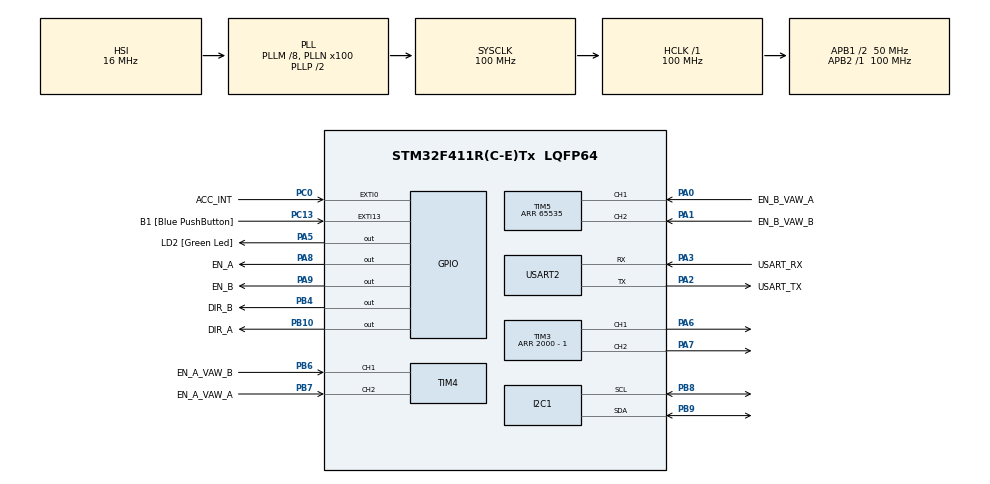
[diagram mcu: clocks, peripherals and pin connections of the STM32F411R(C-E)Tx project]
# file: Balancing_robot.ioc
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Mcu.Family=STM32F4
Mcu.Name=STM32F411R(C-E)Tx
Mcu.Package=LQFP64
NVIC.PriorityGroup=NVIC_PRIORITYGROUP_0
NVIC.TIM1_BRK_TIM9_IRQn=true\:0\:0\:false\:false\:true\:true\:true\:true
NVIC.TIM3_IRQn=true\:0\:0\:false\:false\:true\:true\:true\:true
NVIC.USART2_IRQn=true\:0\:0\:false\:false\:true\:true\:true\:true
PA0-WKUP.GPIO_Label=EN_B_VAW_A
PA0-WKUP.Signal=S_TIM5_CH1
PA1.GPIO_Label=EN_B_VAW_B
PA1.Signal=S_TIM5_CH2
PA13.GPIO_Label=TMS
PA13.Mode=Serial_Wire
PA13.Signal=SYS_JTMS-SWDIO
PA14.GPIO_Label=TCK
PA14.Mode=Serial_Wire
PA14.Signal=SYS_JTCK-SWCLK
PA2.GPIO_Label=USART_TX
PA2.Mode=Asynchronous
PA2.Signal=USART2_TX
PA3.GPIO_Label=USART_RX
PA3.Mode=Asynchronous
PA3.Signal=USART2_RX
PA5.GPIO_Label=LD2 [Green Led]
PA5.Signal=GPIO_Output
PA6.Signal=S_TIM3_CH1
PA7.Signal=S_TIM3_CH2
PA8.GPIO_Label=EN_A
PA8.Signal=GPIO_Output
PA9.GPIO_Label=EN_B
PA9.Signal=GPIO_Output
PB10.GPIO_Label=DIR_A
PB10.Signal=GPIO_Output
PB3.GPIO_Label=SWO
PB3.Signal=SYS_JTDO-SWO
PB4.GPIO_Label=DIR_B
PB4.Signal=GPIO_Output
PB6.GPIO_Label=EN_A_VAW_B
PB6.Signal=S_TIM4_CH1
PB7.GPIO_Label=EN_A_VAW_A
PB7.Signal=S_TIM4_CH2
PB8.Mode=I2C
PB8.Signal=I2C1_SCL
PB9.Mode=I2C
PB9.Signal=I2C1_SDA
PC0.GPIO_Label=ACC_INT
PC0.Signal=GPXTI0
PC13-ANTI_TAMP.GPIO_Label=B1 [Blue PushButton]
PC13-ANTI_TAMP.GPIO_ModeDefaultEXTI=GPIO_MODE_IT_FALLING
PC13-ANTI_TAMP.Signal=GPXTI13
PC14-OSC32_IN.Mode=LSE-External-Oscillator
PC14-OSC32_IN.Signal=RCC_OSC32_IN
PC15-OSC32_OUT.Mode=LSE-External-Oscillator
PC15-OSC32_OUT.Signal=RCC_OSC32_OUT
PH0\ -\ OSC_IN.Mode=HSE-External-Clock-Source
PH0\ -\ OSC_IN.Signal=RCC_OSC_IN
PH1\ -\ OSC_OUT.Mode=HSE-External-Clock-Source
PH1\ -\ OSC_OUT.Signal=RCC_OSC_OUT
ProjectManager.HeapSize=0x200
ProjectManager.StackSize=0x400
ProjectManager.TargetToolchain=STM32CubeIDE
RCC.48MHZClocksFreq_Value=50000000
RCC.AHBFreq_Value=100000000
RCC.APB1CLKDivider=RCC_HCLK_DIV2
RCC.APB1Freq_Value=50000000
RCC.APB1TimFreq_Value=100000000
RCC.APB2Freq_Value=100000000
RCC.APB2TimFreq_Value=100000000
RCC.CortexFreq_Value=100000000
RCC.FLatency-AdvancedSettings=FLASH_LATENCY_3
RCC.HCLKFreq_Value=100000000
RCC.HSE_VALUE=8000000
RCC.HSI_VALUE=16000000
RCC.PLLM=8
RCC.PLLN=100
RCC.SYSCLKFreq_VALUE=100000000
RCC.SYSCLKSource=RCC_SYSCLKSOURCE_PLLCLK
RCC.VCOOutputFreq_Value=200000000
SH.S_TIM3_CH1.0=TIM3_CH1,PWM Generation1 CH1
SH.S_TIM3_CH2.0=TIM3_CH2,PWM Generation2 CH2
SH.S_TIM4_CH1.0=TIM4_CH1,Encoder_Interface
SH.S_TIM4_CH2.0=TIM4_CH2,Encoder_Interface
SH.S_TIM5_CH1.0=TIM5_CH1,Encoder_Interface
SH.S_TIM5_CH2.0=TIM5_CH2,Encoder_Interface
TIM3.Channel-PWM\ Generation1\ CH1=TIM_CHANNEL_1
TIM3.Channel-PWM\ Generation2\ CH2=TIM_CHANNEL_2
TIM3.Period=2000 - 1
TIM4.CounterMode=TIM_COUNTERMODE_UP
TIM4.EncoderMode=TIM_ENCODERMODE_TI12
TIM5.CounterMode=TIM_COUNTERMODE_UP
TIM5.EncoderMode=TIM_ENCODERMODE_TI12
TIM5.Period=65535
TIM9.Period=65536-1
TIM9.Prescaler=(154-1)/2
USART2.VirtualMode=VM_ASYNC
VP_TIM9_VS_ClockSourceINT.Mode=Internal
board=NUCLEO-F411RE

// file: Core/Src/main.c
/* USER CODE BEGIN Header */
/**
  ******************************************************************************
  * @file           : main.c
  * @brief          : Main program body
  ******************************************************************************
  * @attention
  *
  * Copyright (c) 2022 STMicroelectronics.
  * All rights reserved.
  *
  * This software is licensed under terms that can be found in the LICENSE file
  * in the root directory of this software component.
  * If no LICENSE file comes with this software, it is provided AS-IS.
  *
  ******************************************************************************
  */
/* USER CODE END Header */
#include "main.h"

/* USER CODE BEGIN Includes */
#include "max14870.h"
#include "ICM20948_I2C.h"
#include "comp_filter.h"
#include "balance_pid.h"
#include "math.h"
#include <stdio.h>
/* USER CODE END Includes */

 I2C_HandleTypeDef hi2c1;

TIM_HandleTypeDef htim3;
TIM_HandleTypeDef htim4;
TIM_HandleTypeDef htim5;
TIM_HandleTypeDef htim9;

UART_HandleTypeDef huart2;

/* USER CODE BEGIN PV */

/* Declare structures for control and measurements */
IMC20498 	imu;
comp_filter angle;
balance_pid robot_pid;

/* Contorl variables */
uint8_t control_flag = 0;
HAL_StatusTypeDef status;

/* USER CODE END PV */

void SystemClock_Config(void);
static void MX_GPIO_Init(void);
static void MX_USART2_UART_Init(void);
static void MX_TIM3_Init(void);
static void MX_TIM4_Init(void);
static void MX_TIM9_Init(void);
static void MX_TIM5_Init(void);
static void MX_I2C1_Init(void);

int main(void)
{
  /* USER CODE BEGIN 1 */
	uint8_t errorNum;
	/* Variables for communication */

	/* Error code for IMC20498 */

  /* USER CODE END 1 */

  /* MCU Configuration--------------------------------------------------------*/

  /* Reset of all peripherals, Initializes the Flash interface and the Systick. */
  HAL_Init();

  /* Configure the system clock */
  SystemClock_Config();

  /* Initialize all configured peripherals */
  MX_GPIO_Init();
  MX_USART2_UART_Init();
  MX_TIM3_Init();
  MX_TIM4_Init();
  MX_TIM9_Init();
  MX_TIM5_Init();
  MX_I2C1_Init();
  /* USER CODE BEGIN 2 */

  /* Initialize IMU and perform initial read */
  errorNum = init_imc20948(&imu, &hi2c1);
  status = imc20948_acc_read(&imu);
  if(status != HAL_OK){
	  // TODO add routine for bad read
  }
  status = imc20948_gyro_read(&imu);
  if(status != HAL_OK){
	  // TODO add routine for bad read
  }

  /* Initialize complementary filter
   * gain 			= 0.98
   * frequency 		= 20Hz (0.05 sec)
   */
  init_filter(&angle, 0.94, 0.05,atan2f(imu.acc_g[0],-imu.acc_g[2]));

  /* Initialized motor and controlers */

  /* Balcence PID
   * Base tune:
   * P = 90
   * I = 25
   * D = 5
   * */

  init_balance_regulator(&robot_pid, 0, 200.0, 70.0, 50.0);
  change_scales(&robot_pid, 1, -1);

  /* Motor contorlers */
  max14870_init(&(robot_pid.cntr_1), &htim3, TIM_CHANNEL_1,
  		  EN_A_Pin, GPIOA, DIR_A_Pin, GPIOB );
  max14870_init(&(robot_pid.cntr_2), &htim3, TIM_CHANNEL_2,
  		  EN_B_Pin, GPIOA, DIR_B_Pin, GPIOB );

  /* Initialize TIM9 interupt for control loop */
  HAL_TIM_Base_Start_IT(&htim9);
  // HAL_TIM_Base_Start_IT(&htim10);

  /* USER CODE END 2 */

  /* Infinite loop */
  while (1)
  {

  }
}

void SystemClock_Config(void)
{
  RCC_OscInitTypeDef RCC_OscInitStruct = {0};
  RCC_ClkInitTypeDef RCC_ClkInitStruct = {0};

  /** Configure the main internal regulator output voltage
  */
  __HAL_RCC_PWR_CLK_ENABLE();
  __HAL_PWR_VOLTAGESCALING_CONFIG(PWR_REGULATOR_VOLTAGE_SCALE1);

  /** Initializes the RCC Oscillators according to the specified parameters
  * in the RCC_OscInitTypeDef structure.
  */
  RCC_OscInitStruct.OscillatorType = RCC_OSCILLATORTYPE_HSI;
  RCC_OscInitStruct.HSIState = RCC_HSI_ON;
  RCC_OscInitStruct.HSICalibrationValue = RCC_HSICALIBRATION_DEFAULT;
  RCC_OscInitStruct.PLL.PLLState = RCC_PLL_ON;
  RCC_OscInitStruct.PLL.PLLSource = RCC_PLLSOURCE_HSI;
  RCC_OscInitStruct.PLL.PLLM = 8;
  RCC_OscInitStruct.PLL.PLLN = 100;
  RCC_OscInitStruct.PLL.PLLP = RCC_PLLP_DIV2;
  RCC_OscInitStruct.PLL.PLLQ = 4;
  if (HAL_RCC_OscConfig(&RCC_OscInitStruct) != HAL_OK)
  {
    Error_Handler();
  }

  /** Initializes the CPU, AHB and APB buses clocks
  */
  RCC_ClkInitStruct.ClockType = RCC_CLOCKTYPE_HCLK|RCC_CLOCKTYPE_SYSCLK
                              |RCC_CLOCKTYPE_PCLK1|RCC_CLOCKTYPE_PCLK2;
  RCC_ClkInitStruct.SYSCLKSource = RCC_SYSCLKSOURCE_PLLCLK;
  RCC_ClkInitStruct.AHBCLKDivider = RCC_SYSCLK_DIV1;
  RCC_ClkInitStruct.APB1CLKDivider = RCC_HCLK_DIV2;
  RCC_ClkInitStruct.APB2CLKDivider = RCC_HCLK_DIV1;

  if (HAL_RCC_ClockConfig(&RCC_ClkInitStruct, FLASH_LATENCY_3) != HAL_OK)
  {
    Error_Handler();
  }
}

static void MX_I2C1_Init(void)
{

  hi2c1.Instance = I2C1;
  hi2c1.Init.ClockSpeed = 100000;
  hi2c1.Init.DutyCycle = I2C_DUTYCYCLE_2;
  hi2c1.Init.OwnAddress1 = 0;
  hi2c1.Init.AddressingMode = I2C_ADDRESSINGMODE_7BIT;
  hi2c1.Init.DualAddressMode = I2C_DUALADDRESS_DISABLE;
  hi2c1.Init.OwnAddress2 = 0;
  hi2c1.Init.GeneralCallMode = I2C_GENERALCALL_DISABLE;
  hi2c1.Init.NoStretchMode = I2C_NOSTRETCH_DISABLE;
  if (HAL_I2C_Init(&hi2c1) != HAL_OK)
  {
    Error_Handler();
  }

}

static void MX_TIM3_Init(void)
{

  TIM_MasterConfigTypeDef sMasterConfig = {0};
  TIM_OC_InitTypeDef sConfigOC = {0};

  htim3.Instance = TIM3;
  htim3.Init.Prescaler = 0;
  htim3.Init.CounterMode = TIM_COUNTERMODE_UP;
  htim3.Init.Period = 2000 - 1;
  htim3.Init.ClockDivision = TIM_CLOCKDIVISION_DIV1;
  htim3.Init.AutoReloadPreload = TIM_AUTORELOAD_PRELOAD_DISABLE;
  if (HAL_TIM_PWM_Init(&htim3) != HAL_OK)
  {
    Error_Handler();
  }
  sMasterConfig.MasterOutputTrigger = TIM_TRGO_RESET;
  sMasterConfig.MasterSlaveMode = TIM_MASTERSLAVEMODE_DISABLE;
  if (HAL_TIMEx_MasterConfigSynchronization(&htim3, &sMasterConfig) != HAL_OK)
  {
    Error_Handler();
  }
  sConfigOC.OCMode = TIM_OCMODE_PWM1;
  sConfigOC.Pulse = 0;
  sConfigOC.OCPolarity = TIM_OCPOLARITY_HIGH;
  sConfigOC.OCFastMode = TIM_OCFAST_DISABLE;
  if (HAL_TIM_PWM_ConfigChannel(&htim3, &sConfigOC, TIM_CHANNEL_1) != HAL_OK)
  {
    Error_Handler();
  }
  if (HAL_TIM_PWM_ConfigChannel(&htim3, &sConfigOC, TIM_CHANNEL_2) != HAL_OK)
  {
    Error_Handler();
  }
  HAL_TIM_MspPostInit(&htim3);

}

static void MX_TIM4_Init(void)
{

  TIM_Encoder_InitTypeDef sConfig = {0};
  TIM_MasterConfigTypeDef sMasterConfig = {0};

  htim4.Instance = TIM4;
  htim4.Init.Prescaler = 0;
  htim4.Init.CounterMode = TIM_COUNTERMODE_UP;
  htim4.Init.Period = 65535;
  htim4.Init.ClockDivision = TIM_CLOCKDIVISION_DIV1;
  htim4.Init.AutoReloadPreload = TIM_AUTORELOAD_PRELOAD_DISABLE;
  sConfig.EncoderMode = TIM_ENCODERMODE_TI12;
  sConfig.IC1Polarity = TIM_ICPOLARITY_RISING;
  sConfig.IC1Selection = TIM_ICSELECTION_DIRECTTI;
  sConfig.IC1Prescaler = TIM_ICPSC_DIV1;
  sConfig.IC1Filter = 0;
  sConfig.IC2Polarity = TIM_ICPOLARITY_RISING;
  sConfig.IC2Selection = TIM_ICSELECTION_DIRECTTI;
  sConfig.IC2Prescaler = TIM_ICPSC_DIV1;
  sConfig.IC2Filter = 0;
  if (HAL_TIM_Encoder_Init(&htim4, &sConfig) != HAL_OK)
  {
    Error_Handler();
  }
  sMasterConfig.MasterOutputTrigger = TIM_TRGO_RESET;
  sMasterConfig.MasterSlaveMode = TIM_MASTERSLAVEMODE_DISABLE;
  if (HAL_TIMEx_MasterConfigSynchronization(&htim4, &sMasterConfig) != HAL_OK)
  {
    Error_Handler();
  }

}

static void MX_TIM5_Init(void)
{

  TIM_Encoder_InitTypeDef sConfig = {0};
  TIM_MasterConfigTypeDef sMasterConfig = {0};

  htim5.Instance = TIM5;
  htim5.Init.Prescaler = 0;
  htim5.Init.CounterMode = TIM_COUNTERMODE_UP;
  htim5.Init.Period = 65535;
  htim5.Init.ClockDivision = TIM_CLOCKDIVISION_DIV1;
  htim5.Init.AutoReloadPreload = TIM_AUTORELOAD_PRELOAD_DISABLE;
  sConfig.EncoderMode = TIM_ENCODERMODE_TI12;
  sConfig.IC1Polarity = TIM_ICPOLARITY_RISING;
  sConfig.IC1Selection = TIM_ICSELECTION_DIRECTTI;
  sConfig.IC1Prescaler = TIM_ICPSC_DIV1;
  sConfig.IC1Filter = 0;
  sConfig.IC2Polarity = TIM_ICPOLARITY_RISING;
  sConfig.IC2Selection = TIM_ICSELECTION_DIRECTTI;
  sConfig.IC2Prescaler = TIM_ICPSC_DIV1;
  sConfig.IC2Filter = 0;
  if (HAL_TIM_Encoder_Init(&htim5, &sConfig) != HAL_OK)
  {
    Error_Handler();
  }
  sMasterConfig.MasterOutputTrigger = TIM_TRGO_RESET;
  sMasterConfig.MasterSlaveMode = TIM_MASTERSLAVEMODE_DISABLE;
  if (HAL_TIMEx_MasterConfigSynchronization(&htim5, &sMasterConfig) != HAL_OK)
  {
    Error_Handler();
  }

}

static void MX_TIM9_Init(void)
{

  TIM_ClockConfigTypeDef sClockSourceConfig = {0};

  htim9.Instance = TIM9;
  htim9.Init.Prescaler = (154-1)/2;
  htim9.Init.CounterMode = TIM_COUNTERMODE_UP;
  htim9.Init.Period = 65536-1;
  htim9.Init.ClockDivision = TIM_CLOCKDIVISION_DIV1;
  htim9.Init.AutoReloadPreload = TIM_AUTORELOAD_PRELOAD_DISABLE;
  if (HAL_TIM_Base_Init(&htim9) != HAL_OK)
  {
    Error_Handler();
  }
  sClockSourceConfig.ClockSource = TIM_CLOCKSOURCE_INTERNAL;
  if (HAL_TIM_ConfigClockSource(&htim9, &sClockSourceConfig) != HAL_OK)
  {
    Error_Handler();
  }

}

static void MX_USART2_UART_Init(void)
{

  huart2.Instance = USART2;
  huart2.Init.BaudRate = 115200;
  huart2.Init.WordLength = UART_WORDLENGTH_8B;
  huart2.Init.StopBits = UART_STOPBITS_1;
  huart2.Init.Parity = UART_PARITY_NONE;
  huart2.Init.Mode = UART_MODE_TX_RX;
  huart2.Init.HwFlowCtl = UART_HWCONTROL_NONE;
  huart2.Init.OverSampling = UART_OVERSAMPLING_16;
  if (HAL_UART_Init(&huart2) != HAL_OK)
  {
    Error_Handler();
  }

}

static void MX_GPIO_Init(void)
{
  GPIO_InitTypeDef GPIO_InitStruct = {0};

  /* GPIO Ports Clock Enable */
  __HAL_RCC_GPIOC_CLK_ENABLE();
  __HAL_RCC_GPIOH_CLK_ENABLE();
  __HAL_RCC_GPIOA_CLK_ENABLE();
  __HAL_RCC_GPIOB_CLK_ENABLE();

  /*Configure GPIO pin Output Level */
  HAL_GPIO_WritePin(GPIOA, LD2_Pin|EN_A_Pin|EN_B_Pin, GPIO_PIN_RESET);

  /*Configure GPIO pin Output Level */
  HAL_GPIO_WritePin(GPIOB, DIR_A_Pin|DIR_B_Pin, GPIO_PIN_RESET);

  /*Configure GPIO pin : B1_Pin */
  GPIO_InitStruct.Pin = B1_Pin;
  GPIO_InitStruct.Mode = GPIO_MODE_IT_FALLING;
  GPIO_InitStruct.Pull = GPIO_NOPULL;
  HAL_GPIO_Init(B1_GPIO_Port, &GPIO_InitStruct);

  /*Configure GPIO pin : ACC_INT_Pin */
  GPIO_InitStruct.Pin = ACC_INT_Pin;
  GPIO_InitStruct.Mode = GPIO_MODE_IT_RISING;
  GPIO_InitStruct.Pull = GPIO_NOPULL;
  HAL_GPIO_Init(ACC_INT_GPIO_Port, &GPIO_InitStruct);

  /*Configure GPIO pins : LD2_Pin EN_A_Pin EN_B_Pin */
  GPIO_InitStruct.Pin = LD2_Pin|EN_A_Pin|EN_B_Pin;
  GPIO_InitStruct.Mode = GPIO_MODE_OUTPUT_PP;
  GPIO_InitStruct.Pull = GPIO_NOPULL;
  GPIO_InitStruct.Speed = GPIO_SPEED_FREQ_LOW;
  HAL_GPIO_Init(GPIOA, &GPIO_InitStruct);

  /*Configure GPIO pins : DIR_A_Pin DIR_B_Pin */
  GPIO_InitStruct.Pin = DIR_A_Pin|DIR_B_Pin;
  GPIO_InitStruct.Mode = GPIO_MODE_OUTPUT_PP;
  GPIO_InitStruct.Pull = GPIO_NOPULL;
  GPIO_InitStruct.Speed = GPIO_SPEED_FREQ_LOW;
  HAL_GPIO_Init(GPIOB, &GPIO_InitStruct);

}

/* USER CODE BEGIN 4 */
void HAL_TIM_PeriodElapsedCallback(TIM_HandleTypeDef *htim){

	if(htim->Instance == TIM9){
		status = imc20948_acc_read(&imu);
		status = imc20948_gyro_read(&imu);
		/* Upadte filter and contorler */
		update_filter(&angle, atan2f(imu.acc_g[0],-imu.acc_g[2]), imu.gyro_dps[1] * (M_PI / 180));
		update_controler(&robot_pid,angle.curr_value * (180 / M_PI));

	}
//	if(htim->Instance == TIM10){
//		/* Measuere data */
//		status = imc20948_acc_read(&imu);
//		status = imc20948_gyro_read(&imu);
//
//	}
}
/* USER CODE END 4 */

void Error_Handler(void)
{
  __disable_irq();
  while (1)
  {
  }
}
